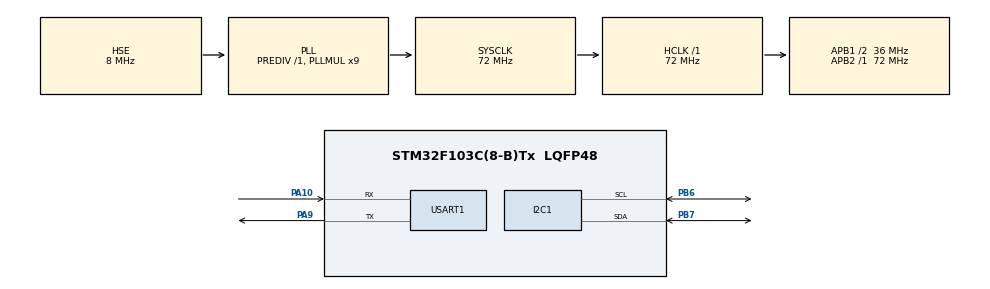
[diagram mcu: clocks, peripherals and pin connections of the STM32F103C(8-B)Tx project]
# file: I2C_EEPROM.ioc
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Mcu.Family=STM32F1
Mcu.Name=STM32F103C(8-B)Tx
Mcu.Package=LQFP48
NVIC.PriorityGroup=NVIC_PRIORITYGROUP_4
PA10.Mode=Asynchronous
PA10.Signal=USART1_RX
PA13.Mode=Serial_Wire
PA13.Signal=SYS_JTMS-SWDIO
PA14.Mode=Serial_Wire
PA14.Signal=SYS_JTCK-SWCLK
PA9.Mode=Asynchronous
PA9.Signal=USART1_TX
PB6.Mode=I2C
PB6.Signal=I2C1_SCL
PB7.Mode=I2C
PB7.Signal=I2C1_SDA
PD0-OSC_IN.Mode=HSE-External-Oscillator
PD0-OSC_IN.Signal=RCC_OSC_IN
PD1-OSC_OUT.Mode=HSE-External-Oscillator
PD1-OSC_OUT.Signal=RCC_OSC_OUT
ProjectManager.HeapSize=0x200
ProjectManager.StackSize=0x400
ProjectManager.TargetToolchain=CMake
RCC.AHBFreq_Value=72000000
RCC.APB1CLKDivider=RCC_HCLK_DIV2
RCC.APB1Freq_Value=36000000
RCC.APB1TimFreq_Value=72000000
RCC.APB2Freq_Value=72000000
RCC.APB2TimFreq_Value=72000000
RCC.HCLKFreq_Value=72000000
RCC.PLLMUL=RCC_PLL_MUL9
RCC.PLLSourceVirtual=RCC_PLLSOURCE_HSE
RCC.SYSCLKFreq_VALUE=72000000
RCC.SYSCLKSource=RCC_SYSCLKSOURCE_PLLCLK
RCC.USBFreq_Value=72000000
USART1.VirtualMode=VM_ASYNC
board=custom

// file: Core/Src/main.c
/* USER CODE BEGIN Header */
/**
  ******************************************************************************
  * @file           : main.c
  * @brief          : Main program body
  ******************************************************************************
  * @attention
  *
  * Copyright (c) 2025 STMicroelectronics.
  * All rights reserved.
  *
  * This software is licensed under terms that can be found in the LICENSE file
  * in the root directory of this software component.
  * If no LICENSE file comes with this software, it is provided AS-IS.
  *
  ******************************************************************************
  */
/* USER CODE END Header */
#include "main.h"
#include "i2c.h"
#include "stm32f1xx_hal.h"
#include "stm32f1xx_hal_def.h"
#include "stm32f1xx_hal_i2c.h"
#include "stm32f1xx_hal_uart.h"
#include "usart.h"
#include "gpio.h"

/* USER CODE BEGIN Includes */

#include "stdio.h"
#include <stdint.h>

/* USER CODE END Includes */

/* USER CODE BEGIN PD */

#define AT24C02_WRITE_ADDR 0xA0 // AT24C02写地址
#define AT24C02_READ_ADDR  0xA1 // AT24C02读地址
#define EEPROM_TEST_ADDR  0x00 // 测试地址

/* USER CODE END PD */

void SystemClock_Config(void);

/* USER CODE BEGIN 0 */

// 串口重定向
int fputc(int ch, FILE *f) {
  HAL_UART_Transmit(&huart1, (uint8_t *)&ch, 1, 1000);
  return ch;
}

// EEPROM字节写入函数
HAL_StatusTypeDef AT24C02_WriteByte(uint16_t addr, uint8_t data) {
  uint8_t tx_buf[2] = {addr, data};
  return HAL_I2C_Master_Transmit(&hi2c1, AT24C02_WRITE_ADDR, tx_buf, 2, 1000);
}

// EEPROM字节读取函数
HAL_StatusTypeDef AT24C02_ReadByte(uint16_t addr, uint8_t *data) {
  uint8_t addr8 = (uint8_t)addr;
  HAL_I2C_Master_Transmit(&hi2c1, AT24C02_WRITE_ADDR, &addr8, 1, 1000); // 发送地址
  return HAL_I2C_Master_Receive(&hi2c1, AT24C02_READ_ADDR, data, 1, 1000); // 读取数据
}

/* USER CODE END 0 */

int main(void)
{

  /* MCU Configuration--------------------------------------------------------*/

  /* Reset of all peripherals, Initializes the Flash interface and the Systick. */
  HAL_Init();

  /* Configure the system clock */
  SystemClock_Config();

  /* Initialize all configured peripherals */
  MX_GPIO_Init();
  MX_I2C1_Init();
  MX_USART1_UART_Init();

  /* Infinite loop */
  /* USER CODE BEGIN WHILE */

  uint8_t write_data = 0x5A; // 要写入的数据
  uint8_t read_data = 0x00;  // 用于存储读取的数据
  HAL_StatusTypeDef status;

  // 1. 写数据到EEPROM
  status = AT24C02_WriteByte(EEPROM_TEST_ADDR, write_data);
  if (status != HAL_OK) {
    printf("EEPROM Write Error!\r\n");
  } else {
    HAL_Delay(10); // 写入后需要延时等待EEPROM完成写操作
  }

  // 2. 从EEPROM读取数据
  status = AT24C02_ReadByte(EEPROM_TEST_ADDR, &read_data);
  if (status != HAL_OK) {
    printf("EEPROM Read Error!\r\n");
  } else {
    // 3. 比较写入和读取的数据
    if (read_data == write_data) {
      printf("EEPROM Test Success! Written: 0x%02X, Read: 0x%02X\r\n", write_data, read_data);
    } else {
      printf("EEPROM Test Failed! Written: 0x%02X, Read: 0x%02X\r\n", write_data, read_data);
    }
  }

  while (1)
  {
    /* USER CODE END WHILE */

    /* USER CODE BEGIN 3 */
    // 主循环中可以留空或添加其他功能
  }
  /* USER CODE END 3 */
}

void SystemClock_Config(void)
{
  RCC_OscInitTypeDef RCC_OscInitStruct = {0};
  RCC_ClkInitTypeDef RCC_ClkInitStruct = {0};

  /** Initializes the RCC Oscillators according to the specified parameters
  * in the RCC_OscInitTypeDef structure.
  */
  RCC_OscInitStruct.OscillatorType = RCC_OSCILLATORTYPE_HSE;
  RCC_OscInitStruct.HSEState = RCC_HSE_ON;
  RCC_OscInitStruct.HSEPredivValue = RCC_HSE_PREDIV_DIV1;
  RCC_OscInitStruct.HSIState = RCC_HSI_ON;
  RCC_OscInitStruct.PLL.PLLState = RCC_PLL_ON;
  RCC_OscInitStruct.PLL.PLLSource = RCC_PLLSOURCE_HSE;
  RCC_OscInitStruct.PLL.PLLMUL = RCC_PLL_MUL9;
  if (HAL_RCC_OscConfig(&RCC_OscInitStruct) != HAL_OK)
  {
    Error_Handler();
  }

  /** Initializes the CPU, AHB and APB buses clocks
  */
  RCC_ClkInitStruct.ClockType = RCC_CLOCKTYPE_HCLK|RCC_CLOCKTYPE_SYSCLK
                              |RCC_CLOCKTYPE_PCLK1|RCC_CLOCKTYPE_PCLK2;
  RCC_ClkInitStruct.SYSCLKSource = RCC_SYSCLKSOURCE_PLLCLK;
  RCC_ClkInitStruct.AHBCLKDivider = RCC_SYSCLK_DIV1;
  RCC_ClkInitStruct.APB1CLKDivider = RCC_HCLK_DIV2;
  RCC_ClkInitStruct.APB2CLKDivider = RCC_HCLK_DIV1;

  if (HAL_RCC_ClockConfig(&RCC_ClkInitStruct, FLASH_LATENCY_2) != HAL_OK)
  {
    Error_Handler();
  }
}

void Error_Handler(void)
{
  __disable_irq();
  while (1)
  {
  }
}
